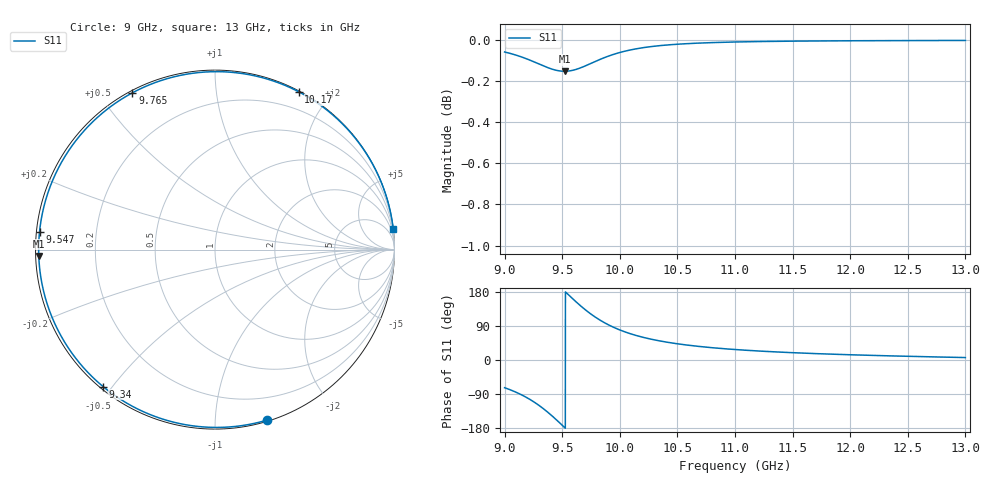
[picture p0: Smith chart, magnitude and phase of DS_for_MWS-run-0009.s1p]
! TOUCHSTONE file generated by CST DESIGN STUDIO
! Date and time: Tue Feb  4 15:55:16 2025
! Project name: C:\Work\MatlabApps\UnitCellOptimizationMatlab\CST\unitcell.cst
! Tree item: Tasks\Sweep1\SPara1\S-Parameters
! Header version: 2024
! Port assignment regex: !\s*Touchstone port\s*([0-9]+)\s*=\s*(CST MWS port|CST DES external port|CST DES block port)\s*(.+)\s* \(\"(.*)\"\)(\s*mode\s*([0-9]+))?.*
! Touchstone port assignment:
! Touchstone port 1 = CST DES external port 1 ("")
# GHz S MA R 50
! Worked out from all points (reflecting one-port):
!   4001 points, 9 GHz to 13 GHz, reference 50 ohm
!   lowest |S11| = -0.2 dB at 9.52 GHz (marker M1), VSWR 113.74, Z = 0.44 - j0.899 ohm
!   phase of S11 starts at -73 deg and turns -280 deg over the sweep
!   S11 on the Smith chart (normalised r, x): 9 GHz: 0.01, -1.35; 9.34 GHz: 0.01, -0.47; 9.547 GHz: 0.01, +0.05; 9.765 GHz: 0.01, +0.60; 10.17 GHz: 0.01, +1.66; 13 GHz: 0, +18
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9  0.9932 -73.1
9.093  0.9916 -84.2
9.199  0.9892 -100.4
9.273  0.9873 -114.4
9.34  0.9855 -129.3
9.384  0.9844 -140.2
9.429  0.9834 -152.1
9.465  0.9829 -162.1
9.5  0.9826 -172.2
9.52  0.9826 -177.9
9.547  0.9826 174.2
9.601  0.9833 158.8
9.662  0.9845 142.3
9.713  0.9859 129.6
9.765  0.9874 117.8
9.814  0.9887 107.9
9.868  0.9901 98.2
10  0.993 79.3
10.084  0.9943 70.1
10.174  0.9953 62.0
10.323  0.9966 51.7
10.5  0.9976 42.8
10.722  0.9983 34.7
11  0.9988 27.6
11.5  0.9993 19.3
12  0.9995 13.8
12.5  0.9996 9.7
13  0.9997 6.5
